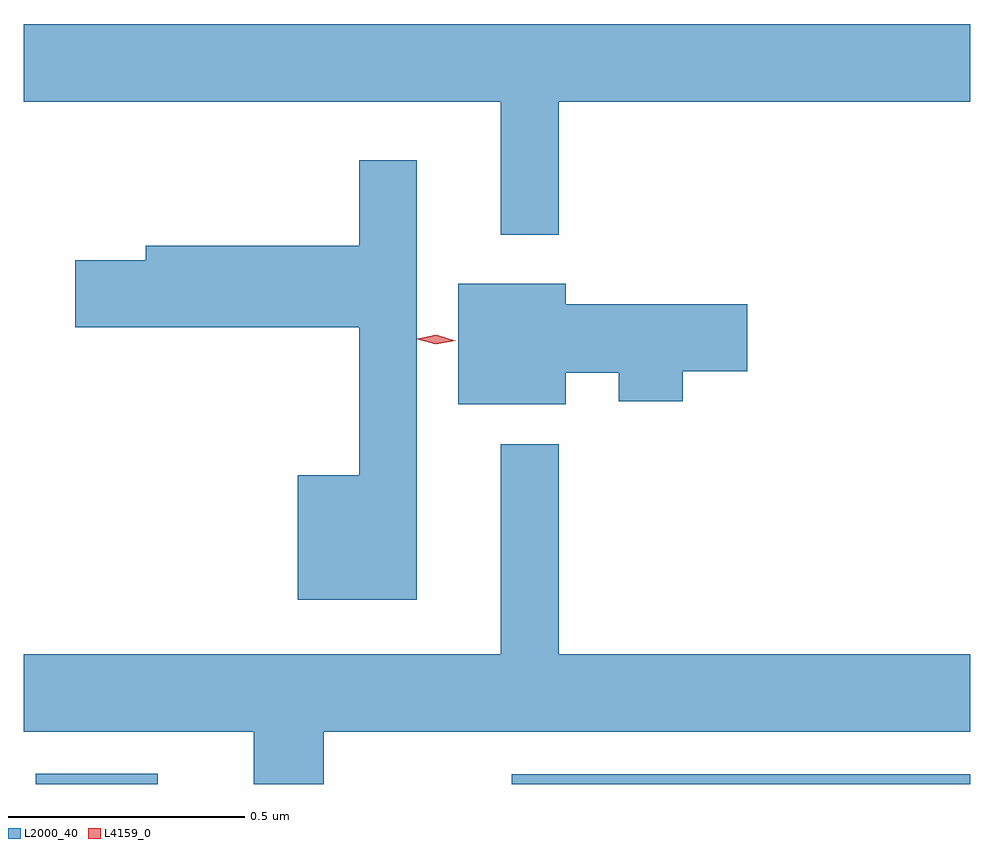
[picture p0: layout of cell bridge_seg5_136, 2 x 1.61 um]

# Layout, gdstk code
import gdstk
lib = gdstk.Library(unit=1e-6, precision=1e-09)
def R(c, l, rs):  # rectangles x0, y0, x1, y1
    for r in rs: c.add(gdstk.rectangle(r[:2], r[2:], *l))
def P(c, l, *ps):  # polygons
    for p in ps: c.add(gdstk.Polygon(p, *l))
L2000_40 = (2000, 40)
L4159_0 = (4159, 0)

bridge_seg5_136 = lib.new_cell('bridge_seg5_136')
R(bridge_seg5_136, L2000_40, [(363.942,860.646,364.2,860.668), (364.948,860.646,365.917,860.667)])
P(bridge_seg5_136, L2000_40, [(365.047,862.088),(365.917,862.088),(365.917,862.252),(363.917,862.252),(363.917,862.088),(364.925,862.088),(364.925,861.807),(365.047,861.807)],
  [(364.747,861.964),(364.626,861.964),(364.626,861.783),(364.175,861.783),(364.175,861.753),(364.026,861.753),(364.026,861.611),(364.626,861.611),(364.626,861.298),(364.496,861.298),(364.496,861.035),(364.747,861.035)],
  [(365.062,861.515),(365.174,861.515),(365.174,861.455),(365.309,861.455),(365.309,861.518),(365.446,861.518),(365.446,861.66),(365.062,861.66),(365.062,861.703),(364.835,861.703),(364.835,861.449),(365.062,861.449)],
  [(364.551,860.756),(365.917,860.756),(365.917,860.92),(365.047,860.92),(365.047,861.364),(364.925,861.364),(364.925,860.92),(363.917,860.92),(363.917,860.756),(364.403,860.756),(364.403,860.646),(364.551,860.646)])
P(bridge_seg5_136, L4159_0, [(364.788,861.575),(364.748,861.586),(364.747,861.586),(364.748,861.587),(364.789,861.595),(364.829,861.583),(364.83,861.583),(364.829,861.583)])

lib.write_gds('bridge_seg5_136.gds')
